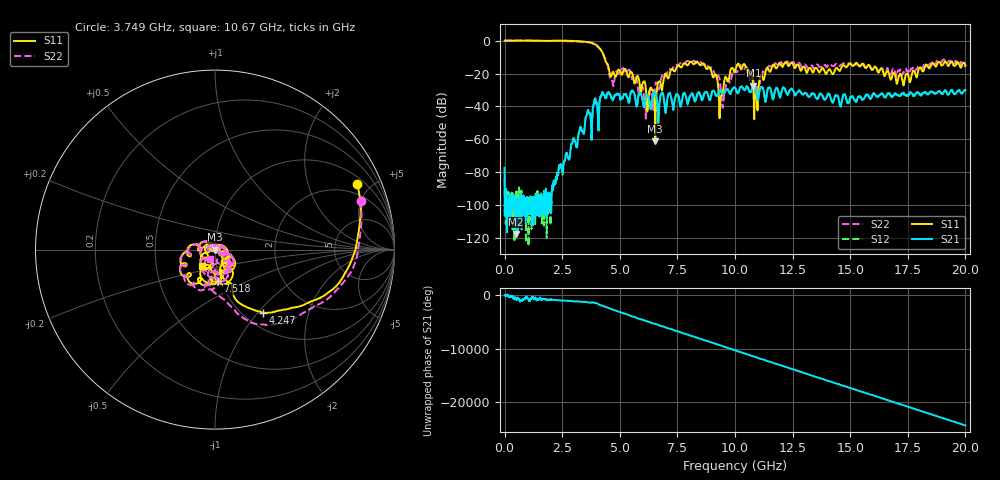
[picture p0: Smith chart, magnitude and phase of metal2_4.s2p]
#  HZ  S  RI  R  50.00
! Rohde & Schwarz Vector Network Analyzer
! Rohde-Schwarz,ZNB20-2Port,1311601062102128,3.60
! Created: UTC 4/29/2024, 3:56:12 PM
! freq[Hz]  re:S11  im:S11  re:S21  im:S21  re:S12  im:S12  re:S22  im:S22
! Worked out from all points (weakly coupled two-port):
!   2007 points, 100 kHz to 20 GHz, reference 50 ohm
!   highest |S21| = -27.30 dB at 10.8 GHz (marker M1); lowest = -117.7 dB at 498.6 MHz (marker M2)
!   lowest |S11| = -61.3 dB at 6.54 GHz (marker M3), VSWR 1.00, Z = 50.1 + j0.0102 ohm
!   |S11| at or under -10 dB: 4.327 GHz to end of sweep
!   |S22| runs from -47.4 to 0.1 dB; largest |S21 - S12| = 0.0032
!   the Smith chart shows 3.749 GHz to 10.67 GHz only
!   S11 on the Smith chart (normalised r, x): 3.749 GHz: 1.36, +4.16; 4.247 GHz: 1.22, -1.06; 7.518 GHz: 0.97, -0.35; 10.67 GHz: 0.85, -0.16
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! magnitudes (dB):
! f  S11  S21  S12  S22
! 100 kHz  0.0  -77.3  -83.9  0.1
! 498.6 MHz  0.0  -117.7  -94.8  0.0
! 2.243 GHz  0.0  -83.4  -83.0  -0.3
! 3.34 GHz  -0.6  -54.6  -54.4  -0.6
! 3.749 GHz  -1.2  -49.9  -49.8  -1.3
! 4.247 GHz  -7.1  -31.6  -31.2  -7.4
! 4.656 GHz  -20.2  -34.7  -34.8  -23.1
! 5.394 GHz  -21.8  -37.8  -37.8  -17.7
! 6.142 GHz  -30.4  -34.0  -33.9  -45.2
! 6.54 GHz  -61.3  -31.5  -31.7  -27.0
! 6.67 GHz  -25.1  -50.1  -49.2  -28.0
! 7.518 GHz  -15.0  -32.9  -32.8  -15.4
! 8.883 GHz  -16.1  -35.9  -36.0  -17.1
! 9.382 GHz  -34.6  -30.9  -31.0  -29.0
! 10 GHz  -18.7  -28.7  -28.7  -17.7
! 10.67 GHz  -18.5  -31.3  -31.3  -24.4
! 10.8 GHz  -29.8  -27.3  -27.4  -24.2
! 10.92 GHz  -33.0  -30.9  -30.8  -30.3
! 11.67 GHz  -14.6  -35.3  -35.5  -14.9
! 13.34 GHz  -18.7  -32.1  -32.1  -15.0
! 16.67 GHz  -19.4  -32.1  -32.1  -19.3
! 20 GHz  -15.1  -30.1  -30.2  -15.1
